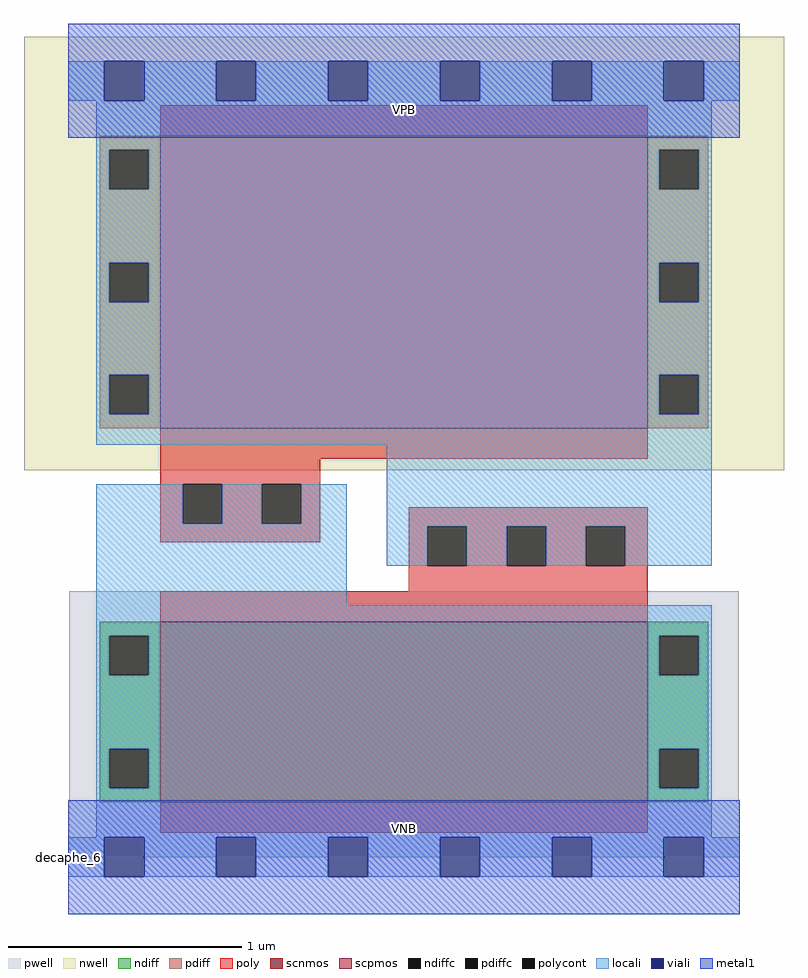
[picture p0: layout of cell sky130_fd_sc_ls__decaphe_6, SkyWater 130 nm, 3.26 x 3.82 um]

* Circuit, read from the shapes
.subckt sky130_fd_sc_ls__decaphe_6 VGND VNB VPB VPWR
XM1 VGND VPWR VGND VNB sky130_fd_pr__nfet_01v8 w=0.775 l=2.09
XM2 VPWR VGND VPWR VPB sky130_fd_pr__pfet_01v8 w=1.255 l=2.09
.ends

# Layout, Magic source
magic
tech sky130A
magscale 1 2
<< nwell >>
rect -38 332 614 704
<< pwell >>
rect 1 49 575 228
rect 0 0 576 49
<< scnmos >>
rect 79 47 497 202
<< scpmos >>
rect 79 368 497 619
<< ndiff >>
rect 27 190 79 202
rect 27 156 35 190
rect 69 156 79 190
rect 27 93 79 156
rect 27 59 35 93
rect 69 59 79 93
rect 27 47 79 59
rect 497 190 549 202
rect 497 156 507 190
rect 541 156 549 190
rect 497 93 549 156
rect 497 59 507 93
rect 541 59 549 93
rect 497 47 549 59
<< pdiff >>
rect 27 607 79 619
rect 27 573 35 607
rect 69 573 79 607
rect 27 510 79 573
rect 27 476 35 510
rect 69 476 79 510
rect 27 414 79 476
rect 27 380 35 414
rect 69 380 79 414
rect 27 368 79 380
rect 497 607 549 619
rect 497 573 507 607
rect 541 573 549 607
rect 497 510 549 573
rect 497 476 507 510
rect 541 476 549 510
rect 497 414 549 476
rect 497 380 507 414
rect 541 380 549 414
rect 497 368 549 380
<< ndiffc >>
rect 35 156 69 190
rect 35 59 69 93
rect 507 156 541 190
rect 507 59 541 93
<< pdiffc >>
rect 35 573 69 607
rect 35 476 69 510
rect 35 380 69 414
rect 507 573 541 607
rect 507 476 541 510
rect 507 380 541 414
<< poly >>
rect 79 619 497 645
rect 79 342 497 368
rect 79 320 216 342
rect 79 286 98 320
rect 132 286 166 320
rect 200 286 216 320
rect 79 270 216 286
rect 292 284 497 300
rect 292 250 308 284
rect 342 250 376 284
rect 410 250 444 284
rect 478 250 497 284
rect 292 228 497 250
rect 79 202 497 228
rect 79 21 497 47
<< polycont >>
rect 98 286 132 320
rect 166 286 200 320
rect 308 250 342 284
rect 376 250 410 284
rect 444 250 478 284
<< locali >>
rect 0 649 31 683
rect 65 649 127 683
rect 161 649 223 683
rect 257 649 319 683
rect 353 649 415 683
rect 449 649 511 683
rect 545 649 576 683
rect 24 607 552 649
rect 24 573 35 607
rect 69 573 507 607
rect 541 573 552 607
rect 24 510 552 573
rect 24 476 35 510
rect 69 476 507 510
rect 541 476 552 510
rect 24 414 552 476
rect 24 380 35 414
rect 69 380 507 414
rect 541 380 552 414
rect 24 354 552 380
rect 24 286 98 320
rect 132 286 166 320
rect 200 286 239 320
rect 24 216 239 286
rect 273 284 552 354
rect 273 250 308 284
rect 342 250 376 284
rect 410 250 444 284
rect 478 250 552 284
rect 24 190 552 216
rect 24 156 35 190
rect 69 156 507 190
rect 541 156 552 190
rect 24 93 552 156
rect 24 59 35 93
rect 69 59 507 93
rect 541 59 552 93
rect 24 17 552 59
rect 0 -17 31 17
rect 65 -17 127 17
rect 161 -17 223 17
rect 257 -17 319 17
rect 353 -17 415 17
rect 449 -17 511 17
rect 545 -17 576 17
<< viali >>
rect 31 649 65 683
rect 127 649 161 683
rect 223 649 257 683
rect 319 649 353 683
rect 415 649 449 683
rect 511 649 545 683
rect 31 -17 65 17
rect 127 -17 161 17
rect 223 -17 257 17
rect 319 -17 353 17
rect 415 -17 449 17
rect 511 -17 545 17
<< metal1 >>
rect 0 683 576 715
rect 0 649 31 683
rect 65 649 127 683
rect 161 649 223 683
rect 257 649 319 683
rect 353 649 415 683
rect 449 649 511 683
rect 545 649 576 683
rect 0 617 576 649
rect 0 17 576 49
rect 0 -17 31 17
rect 65 -17 127 17
rect 161 -17 223 17
rect 257 -17 319 17
rect 353 -17 415 17
rect 449 -17 511 17
rect 545 -17 576 17
rect 0 -49 576 -17
<< labels >>
flabel pwell s 0 0 576 49 0 FreeSans 200 0 0 0 VNB
port 2 nsew ground bidirectional
flabel nwell s 0 617 576 666 0 FreeSans 200 0 0 0 VPB
port 3 nsew power bidirectional
rlabel comment s 0 0 0 0 4 decaphe_6
flabel metal1 s 0 617 576 666 0 FreeSans 200 0 0 0 VPWR
port 4 nsew power bidirectional abutment
flabel metal1 s 0 0 576 49 0 FreeSans 200 0 0 0 VGND
port 1 nsew ground bidirectional abutment
<< properties >>
string LEFsite unit
string LEFclass CORE
string FIXED_BBOX 0 0 576 666
string GDS_FILE $PDKPATH/libs.ref/sky130_fd_sc_ls/gds/sky130_fd_sc_ls.gds
string LEFsymmetry X Y R90
string GDS_END 3448784
string GDS_START 3445408
<< end >>
